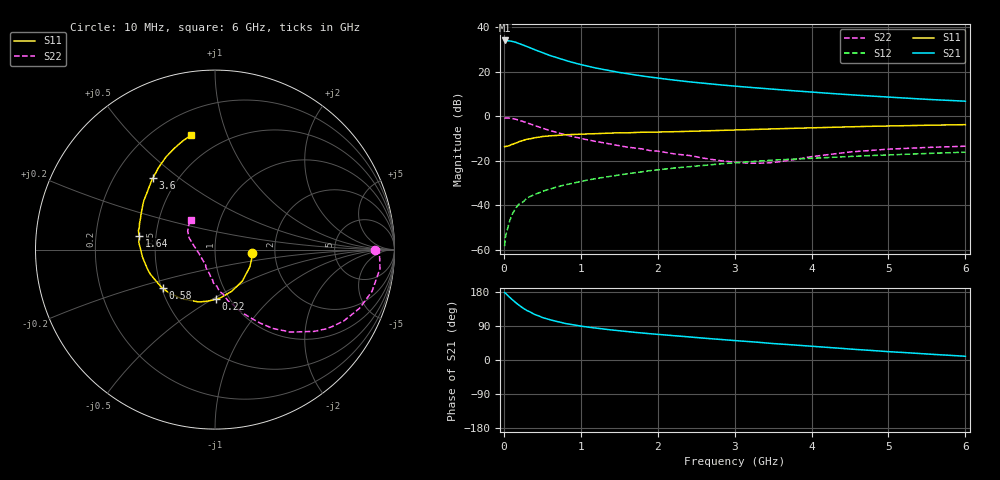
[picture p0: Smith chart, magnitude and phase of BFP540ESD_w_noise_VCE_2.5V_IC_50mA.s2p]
! Infineon Technologies  Discrete & RF Semiconductors
! BFP540ESD
! VCE =  2.5 V,  IC =  50 mA
! Common Emitter S-Parameters:  Nov 2015
# GHz  S  MA  R  50
!  f  S11  S21  S12  S22
! GHz  MAG  ANG  MAG  ANG  MAG  ANG  MAG  ANG
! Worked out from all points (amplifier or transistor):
!   210 points, 10 MHz to 6 GHz, reference 50 ohm
!   highest |S21| = 34.2 dB at 10 MHz (marker M1)
!   |S21| within 3 dB of that: start of sweep to 320.1 MHz
!   unconditionally stable (mu >= 1): start of sweep to 16.26 MHz; 1.464 GHz to end of sweep
!   at 185 MHz: K = 0.36, MSG = 36.5 dB, |S12| = -40.0 dB
!   at 1.52 GHz: K = 1.01, MAG = 22.4 dB, |S12| = -26.2 dB
!   at 6 GHz: K = 1.11, MAG = 9.5 dB, |S12| = -16.1 dB
!   lowest NFmin = 1.82 dB at 900 MHz
!   S11 on the Smith chart (normalised r, x): 10 MHz: 1.52, -0.07; 220 MHz: 0.87, -0.52; 580 MHz: 0.51, -0.25; 1.64 GHz: 0.40, +0.07; 3.6 GHz: 0.37, +0.41; 6 GHz: 0.34, +0.75
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0.01  0.2091 -5.6  51.01 178.0  0.0012 117.9  0.8916 -0.3
0.05  0.2167 -26.2  50.6 170.4  0.003 96.2  0.9253 -6.6
0.1  0.2325 -49.2  49.08 160.9  0.0058 84.3  0.9052 -14.9
0.12  0.2364 -57.0  47.99 157.4  0.0068 81.3  0.8889 -17.7
0.155  0.2513 -69.7  46.37 151.2  0.0085 77.7  0.8634 -22.8
0.2  0.2708 -83.7  43.66 143.9  0.0108 74.5  0.82 -29.0
0.22  0.2761 -88.9  42.3 141.2  0.0112 73.5  0.7991 -31.2
0.3  0.3055 -107.2  37.34 130.6  0.0145 70.6  0.7163 -39.5
0.4  0.3298 -123.6  31.68 120.3  0.0174 68.0  0.6224 -47.6
0.5  0.3514 -136.3  27.16 112.2  0.0204 66.2  0.5429 -53.9
0.58  0.3618 -143.5  24.12 107.4  0.0226 66.3  0.4909 -57.6
0.7  0.3731 -152.6  20.55 100.9  0.0261 66.4  0.4274 -62.6
0.8  0.3857 -159.3  18.13 96.4  0.0288 66.4  0.3837 -66.6
1.02  0.3992 -170.2  14.36 89.0  0.035 65.4  0.313 -73.0
1.3  0.4138 179.9  11.28 81.6  0.0426 64.0  0.2516 -79.7
1.64  0.4287 169.8  8.902 74.3  0.052 62.3  0.1999 -88.8
2.02  0.4451 160.9  7.18 67.3  0.063 59.2  0.163 -97.4
3.1  0.4967 139.2  4.632 49.9  0.0926 49.7  0.0902 -138.0
3.6  0.5288 130.6  3.953 42.1  0.1057 44.8  0.096 -172.3
4.1  0.5594 123.3  3.416 34.7  0.1162 39.9  0.1302 164.8
5.1  0.6128 110.7  2.649 20.9  0.1379 30.3  0.1859 144.4
6  0.6504 102.1  2.193 9.8  0.1563 22.9  0.2132 128.4
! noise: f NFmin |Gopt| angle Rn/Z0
0.9  1.82  0.49  -140  0.15
1.8  1.97  0.51  -142  0.15
2.4  2.02  0.52  -132  0.19
3  2.14  0.54  -123  0.26
4  2.19  0.61  -102  0.45
5  2.28  0.69  -86  0.67
6  2.72  0.63  -83  1.04
